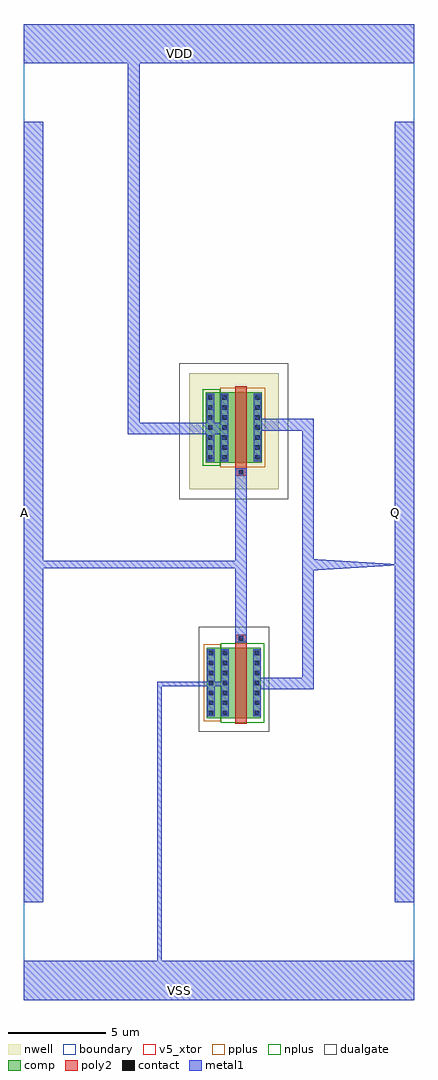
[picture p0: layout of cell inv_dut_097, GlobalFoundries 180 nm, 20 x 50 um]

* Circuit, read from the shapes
.subckt inv_dut_097 A Q VDD VSS
XM1 Q A VSS VSS nfet_05v0 w=3.6u l=0.6u
XM2 Q A VDD VDD pfet_05v0 w=3.6u l=0.6u
.ends

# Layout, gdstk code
from math import pi, radians
import gdstk
lib = gdstk.Library(unit=1e-6, precision=1e-09)
def R(c, l, rs):  # rectangles x0, y0, x1, y1
    for r in rs: c.add(gdstk.rectangle(r[:2], r[2:], *l))
def A(c, l, x, y, w, h, nx, ny, dx, dy):  # array of equal rectangles
    R(c, l, [(x+i*dx, y+j*dy, x+i*dx+w, y+j*dy+h) for i in range(nx) for j in range(ny)])
boundary = (0, 0)
nwell = (21, 0)
comp = (22, 0)
poly2 = (30, 0)
pplus = (31, 0)
nplus = (32, 0)
contact = (33, 0)
metal1 = (34, 0)
dualgate = (55, 0)
v5_xtor = (112, 1)

nfet = lib.new_cell('nfet')
R(nfet, comp, [(-0.42,0,2.35,3.6)])
R(nfet, poly2, [(0.31,-0.3,0.91,4.26)])
R(nfet, pplus, [(1.64,-0.17,2.52,3.77)])
R(nfet, nplus, [(-0.59,-0.24,1.64,3.84)])
A(nfet, contact, -0.32, 0.16, 0.22, 0.22, 1, 7, 0, 0.51)
A(nfet, contact, 1.32, 0.16, 0.22, 0.22, 1, 7, 0, 0.51)
A(nfet, contact, 2.03, 0.16, 0.22, 0.22, 1, 7, 0, 0.51)
R(nfet, contact, [(0.5,3.97,0.72,4.19)])
R(nfet, metal1, [(-0.4,0.08,-0.02,3.52), (1.24,0.08,1.62,3.52), (1.95,0.08,2.33,3.52), (0.42,3.89,0.8,4.27)])
R(nfet, dualgate, [(-0.84,-0.71,2.77,4.68)])
R(nfet, v5_xtor, [(-0.84,-0.71,2.77,4.68)])

pfet = lib.new_cell('pfet')
R(pfet, nwell, [(-1.32,-1.37,3.27,4.59)])
R(pfet, comp, [(-0.46,0,2.41,3.6)])
R(pfet, poly2, [(0.31,-0.68,0.91,3.9)])
R(pfet, pplus, [(-0.63,-0.24,1.68,3.84)])
R(pfet, nplus, [(1.68,-0.17,2.58,3.77)])
A(pfet, contact, -0.34, 0.16, 0.22, 0.22, 1, 7, 0, 0.51)
A(pfet, contact, 1.34, 0.16, 0.22, 0.22, 1, 7, 0, 0.51)
A(pfet, contact, 2.07, 0.16, 0.22, 0.22, 1, 7, 0, 0.51)
R(pfet, contact, [(0.5,-0.6,0.72,-0.38)])
R(pfet, metal1, [(0.42,-0.68,0.8,-0.3), (-0.42,0.08,-0.04,3.52), (1.26,0.08,1.64,3.52), (1.99,0.08,2.37,3.52)])
R(pfet, dualgate, [(-1.82,-1.87,3.77,5.09)])
R(pfet, v5_xtor, [(-1.82,-1.87,3.77,5.09)])

inv_dut_097 = lib.new_cell('inv_dut_097')
R(inv_dut_097, boundary, [(-10,-25,10,25)])
R(inv_dut_097, metal1, [(-10,-25,10,-23), (-10,-20,-9,20), (9,-20,10,20), (-10,23,10,25)])
inv_dut_097.add(gdstk.FlexPath([(-9.09,-2.69),(1.245,-2.69)], 0.4, ends="flush", simple_path=True, layer=34, datatype=0))  # metal1
inv_dut_097.add(gdstk.FlexPath([(1.13,-6.685),(1.13,2.245)], 0.6, ends="flush", simple_path=True, layer=34, datatype=0))  # metal1
inv_dut_097.add(gdstk.FlexPath([(4.645,-2.705),(9.65,-2.705),(9.475,-2.705)], 0.6, ends="flush", simple_path=True, layer=34, datatype=0))  # metal1
inv_dut_097.add(gdstk.FlexPath([(1.905,-8.78),(4.56,-8.78),(4.56,4.475),(1.935,4.475)], 0.6, ends="flush", simple_path=True, layer=34, datatype=0))  # metal1
inv_dut_097.add(gdstk.FlexPath([(0.47,-8.815),(-3.165,-8.815)], 0.23, ends="flush", simple_path=True, layer=34, datatype=0))  # metal1
inv_dut_097.add(gdstk.FlexPath([(0.355,4.285),(-4.365,4.285),(-4.365,23.495)], 0.6, ends="flush", simple_path=True, layer=34, datatype=0))  # metal1
inv_dut_097.add(gdstk.FlexPath([(-3.05,-8.885),(-3.05,-23.44)], 0.23, ends="flush", simple_path=True, layer=34, datatype=0))  # metal1
inv_dut_097.add(gdstk.Reference(nfet, (1.73,-10.555), rotation=pi, x_reflection=True))
inv_dut_097.add(gdstk.Reference(pfet, (1.735,2.53), rotation=pi, x_reflection=True))
inv_dut_097.add(gdstk.Label('VDD', (-2,23.5), layer=34, texttype=10))
inv_dut_097.add(gdstk.Label('VSS', (-2,-24.5), layer=34, texttype=10))
inv_dut_097.add(gdstk.Label('A', (-9.97,0), layer=34, texttype=10))
inv_dut_097.add(gdstk.Label('Q', (9.03,0), layer=34, texttype=10))

lib.write_gds('inv_dut_097.gds')
